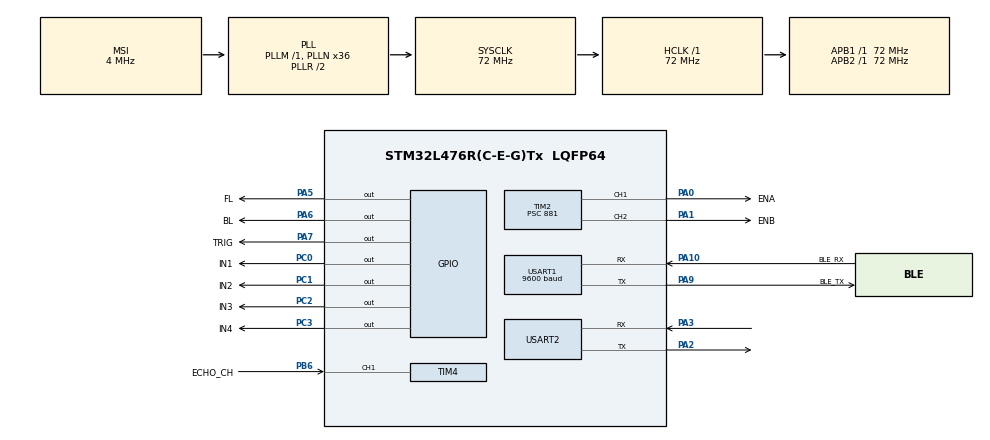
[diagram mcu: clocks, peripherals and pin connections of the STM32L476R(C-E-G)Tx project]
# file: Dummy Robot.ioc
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Mcu.Family=STM32L4
Mcu.Name=STM32L476R(C-E-G)Tx
Mcu.Package=LQFP64
NVIC.PriorityGroup=NVIC_PRIORITYGROUP_4
NVIC.TIM4_IRQn=true\:0\:0\:false\:false\:true\:true\:true\:true
NVIC.USART1_IRQn=true\:0\:0\:false\:false\:true\:true\:true\:true
PA0.GPIO_Label=ENA
PA0.Signal=S_TIM2_CH1
PA1.GPIO_Label=ENB
PA1.Signal=S_TIM2_CH2
PA10.GPIO_Label=BLE_RX
PA10.Mode=Asynchronous
PA10.Signal=USART1_RX
PA2.Mode=Asynchronous
PA2.Signal=USART2_TX
PA3.Mode=Asynchronous
PA3.Signal=USART2_RX
PA5.GPIO_Label=FL
PA5.Signal=GPIO_Output
PA6.GPIO_Label=BL
PA6.Signal=GPIO_Output
PA7.GPIO_Label=TRIG
PA7.Signal=GPIO_Output
PA9.GPIO_Label=BLE_TX
PA9.Mode=Asynchronous
PA9.Signal=USART1_TX
PB6.GPIO_Label=ECHO_CH
PB6.Signal=S_TIM4_CH1
PC0.GPIO_Label=IN1
PC0.Signal=GPIO_Output
PC1.GPIO_Label=IN2
PC1.Signal=GPIO_Output
PC2.GPIO_Label=IN3
PC2.Signal=GPIO_Output
PC3.GPIO_Label=IN4
PC3.Signal=GPIO_Output
ProjectManager.HeapSize=0x200
ProjectManager.StackSize=0x400
ProjectManager.TargetToolchain=STM32CubeIDE
RCC.AHBFreq_Value=72000000
RCC.APB1Freq_Value=72000000
RCC.APB1TimFreq_Value=72000000
RCC.APB2Freq_Value=72000000
RCC.APB2TimFreq_Value=72000000
RCC.CortexFreq_Value=72000000
RCC.HCLKFreq_Value=72000000
RCC.HSE_VALUE=8000000
RCC.HSI_VALUE=16000000
RCC.LSE_VALUE=32768
RCC.MSI_VALUE=4000000
RCC.PLLN=36
RCC.SYSCLKFreq_VALUE=72000000
RCC.SYSCLKSource=RCC_SYSCLKSOURCE_PLLCLK
RCC.VCOOutputFreq_Value=144000000
SH.S_TIM2_CH1.0=TIM2_CH1,PWM Generation1 CH1
SH.S_TIM2_CH2.0=TIM2_CH2,PWM Generation2 CH2
SH.S_TIM4_CH1.0=TIM4_CH1,Input_Capture1_from_TI1
TIM2.Channel-PWM\ Generation1\ CH1=TIM_CHANNEL_1
TIM2.Channel-PWM\ Generation2\ CH2=TIM_CHANNEL_2
TIM2.Period=256-1
TIM2.Prescaler=881
TIM2.Pulse-PWM\ Generation2\ CH2=254
TIM4.Channel-Input_Capture1_from_TI1=TIM_CHANNEL_1
TIM4.Prescaler=72-1
TIM6.Prescaler=72-1
USART1.BaudRate=9600
USART1.VirtualMode-Asynchronous=VM_ASYNC
USART2.VirtualMode-Asynchronous=VM_ASYNC
VP_TIM6_VS_ClockSourceINT.Mode=Enable_Timer
board=custom

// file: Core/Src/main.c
/* USER CODE BEGIN Header */
/**
  ******************************************************************************
  * @file           : main.c
  * @brief          : Main program body
  ******************************************************************************
  * @attention
  *
  * Copyright (c) 2024 STMicroelectronics.
  * All rights reserved.
  *
  * This software is licensed under terms that can be found in the LICENSE file
  * in the root directory of this software component.
  * If no LICENSE file comes with this software, it is provided AS-IS.
  *
  ******************************************************************************
  */
/* USER CODE END Header */
#include "main.h"

/* USER CODE BEGIN Includes */
#include <stdio.h>

/* USER CODE END Includes */

/* USER CODE BEGIN PD */

#define RX_Buffer_len 2
#define Max_Speed 255
#define Meduim_Speed 190
#define Min_Speed 80

/* USER CODE END PD */

TIM_HandleTypeDef htim2;
TIM_HandleTypeDef htim4;
TIM_HandleTypeDef htim6;

UART_HandleTypeDef huart1;
UART_HandleTypeDef huart2;

void SystemClock_Config(void);
static void MX_GPIO_Init(void);
static void MX_TIM2_Init(void);
static void MX_TIM4_Init(void);
static void MX_USART1_UART_Init(void);
static void MX_USART2_UART_Init(void);
static void MX_TIM6_Init(void);
/* USER CODE BEGIN PFP */

void HAL_TIM_IC_CaptureCallback(TIM_HandleTypeDef *htim);
void HAL_UART_RxCpltCallback(UART_HandleTypeDef *huart);
void delay_us(uint16_t);
void HCSR04_Read(void);

void Front_Light_Toggle();
void Back_Light_Toggle();

//Motor Control
void Turn_Left();
void Turn_Right();
void Forward();
void Backward();
void Stop();

/* USER CODE END PFP */

/* USER CODE BEGIN 0 */

uint8_t RX_Buffer[2] = {0};
char MSG[25] = {0};
uint32_t IC_Val1 = 0;
uint32_t IC_Val2 = 0;
uint32_t Difference = 0;
uint8_t Is_First_Captured = 0;  // is the first value captured ?
float Distance  = 0.0;

/* USER CODE END 0 */

int main(void)
{

  /* MCU Configuration--------------------------------------------------------*/

  /* Reset of all peripherals, Initializes the Flash interface and the Systick. */
  HAL_Init();

  /* Configure the system clock */
  SystemClock_Config();

  /* Initialize all configured peripherals */
  MX_GPIO_Init();
  MX_TIM2_Init();
  MX_TIM4_Init();
  MX_USART1_UART_Init();
  MX_USART2_UART_Init();
  MX_TIM6_Init();
  /* USER CODE BEGIN 2 */

  //start Timer6
  HAL_TIM_Base_Start(&htim6);

  //Start Timer 4
  HAL_TIM_IC_Start_IT(&htim2, TIM_CHANNEL_1);

  //Start Timer 2
  HAL_TIM_PWM_Start(&htim2,TIM_CHANNEL_1);
  HAL_TIM_PWM_Start(&htim2,TIM_CHANNEL_2);

  HAL_UART_Receive_IT(&huart1, RX_Buffer, RX_Buffer_len);

  /* USER CODE END 2 */

  /* Infinite loop */
  while (1)
  {

    /* USER CODE BEGIN 3 */

  HCSR04_Read();

  sprintf(MSG, "%f cm\r\n", Distance);

  HAL_UART_Transmit(&huart2, MSG, sizeof(MSG), 100);

  HAL_Delay(100);

  }
  /* USER CODE END 3 */
}

void SystemClock_Config(void)
{
  RCC_OscInitTypeDef RCC_OscInitStruct = {0};
  RCC_ClkInitTypeDef RCC_ClkInitStruct = {0};

  /** Configure the main internal regulator output voltage
  */
  if (HAL_PWREx_ControlVoltageScaling(PWR_REGULATOR_VOLTAGE_SCALE1) != HAL_OK)
  {
    Error_Handler();
  }

  /** Initializes the RCC Oscillators according to the specified parameters
  * in the RCC_OscInitTypeDef structure.
  */
  RCC_OscInitStruct.OscillatorType = RCC_OSCILLATORTYPE_MSI;
  RCC_OscInitStruct.MSIState = RCC_MSI_ON;
  RCC_OscInitStruct.MSICalibrationValue = 0;
  RCC_OscInitStruct.MSIClockRange = RCC_MSIRANGE_6;
  RCC_OscInitStruct.PLL.PLLState = RCC_PLL_ON;
  RCC_OscInitStruct.PLL.PLLSource = RCC_PLLSOURCE_MSI;
  RCC_OscInitStruct.PLL.PLLM = 1;
  RCC_OscInitStruct.PLL.PLLN = 36;
  RCC_OscInitStruct.PLL.PLLP = RCC_PLLP_DIV7;
  RCC_OscInitStruct.PLL.PLLQ = RCC_PLLQ_DIV2;
  RCC_OscInitStruct.PLL.PLLR = RCC_PLLR_DIV2;
  if (HAL_RCC_OscConfig(&RCC_OscInitStruct) != HAL_OK)
  {
    Error_Handler();
  }

  /** Initializes the CPU, AHB and APB buses clocks
  */
  RCC_ClkInitStruct.ClockType = RCC_CLOCKTYPE_HCLK|RCC_CLOCKTYPE_SYSCLK
                              |RCC_CLOCKTYPE_PCLK1|RCC_CLOCKTYPE_PCLK2;
  RCC_ClkInitStruct.SYSCLKSource = RCC_SYSCLKSOURCE_PLLCLK;
  RCC_ClkInitStruct.AHBCLKDivider = RCC_SYSCLK_DIV1;
  RCC_ClkInitStruct.APB1CLKDivider = RCC_HCLK_DIV1;
  RCC_ClkInitStruct.APB2CLKDivider = RCC_HCLK_DIV1;

  if (HAL_RCC_ClockConfig(&RCC_ClkInitStruct, FLASH_LATENCY_4) != HAL_OK)
  {
    Error_Handler();
  }
}

static void MX_TIM2_Init(void)
{

  TIM_MasterConfigTypeDef sMasterConfig = {0};
  TIM_OC_InitTypeDef sConfigOC = {0};

  htim2.Instance = TIM2;
  htim2.Init.Prescaler = 881;
  htim2.Init.CounterMode = TIM_COUNTERMODE_UP;
  htim2.Init.Period = 256-1;
  htim2.Init.ClockDivision = TIM_CLOCKDIVISION_DIV1;
  htim2.Init.AutoReloadPreload = TIM_AUTORELOAD_PRELOAD_DISABLE;
  if (HAL_TIM_PWM_Init(&htim2) != HAL_OK)
  {
    Error_Handler();
  }
  sMasterConfig.MasterOutputTrigger = TIM_TRGO_RESET;
  sMasterConfig.MasterSlaveMode = TIM_MASTERSLAVEMODE_DISABLE;
  if (HAL_TIMEx_MasterConfigSynchronization(&htim2, &sMasterConfig) != HAL_OK)
  {
    Error_Handler();
  }
  sConfigOC.OCMode = TIM_OCMODE_PWM1;
  sConfigOC.Pulse = 0;
  sConfigOC.OCPolarity = TIM_OCPOLARITY_HIGH;
  sConfigOC.OCFastMode = TIM_OCFAST_DISABLE;
  if (HAL_TIM_PWM_ConfigChannel(&htim2, &sConfigOC, TIM_CHANNEL_1) != HAL_OK)
  {
    Error_Handler();
  }
  sConfigOC.Pulse = 254;
  if (HAL_TIM_PWM_ConfigChannel(&htim2, &sConfigOC, TIM_CHANNEL_2) != HAL_OK)
  {
    Error_Handler();
  }
  HAL_TIM_MspPostInit(&htim2);

}

static void MX_TIM4_Init(void)
{

  TIM_MasterConfigTypeDef sMasterConfig = {0};
  TIM_IC_InitTypeDef sConfigIC = {0};

  htim4.Instance = TIM4;
  htim4.Init.Prescaler = 72-1;
  htim4.Init.CounterMode = TIM_COUNTERMODE_UP;
  htim4.Init.Period = 65535;
  htim4.Init.ClockDivision = TIM_CLOCKDIVISION_DIV1;
  htim4.Init.AutoReloadPreload = TIM_AUTORELOAD_PRELOAD_DISABLE;
  if (HAL_TIM_IC_Init(&htim4) != HAL_OK)
  {
    Error_Handler();
  }
  sMasterConfig.MasterOutputTrigger = TIM_TRGO_RESET;
  sMasterConfig.MasterSlaveMode = TIM_MASTERSLAVEMODE_DISABLE;
  if (HAL_TIMEx_MasterConfigSynchronization(&htim4, &sMasterConfig) != HAL_OK)
  {
    Error_Handler();
  }
  sConfigIC.ICPolarity = TIM_INPUTCHANNELPOLARITY_RISING;
  sConfigIC.ICSelection = TIM_ICSELECTION_DIRECTTI;
  sConfigIC.ICPrescaler = TIM_ICPSC_DIV1;
  sConfigIC.ICFilter = 0;
  if (HAL_TIM_IC_ConfigChannel(&htim4, &sConfigIC, TIM_CHANNEL_1) != HAL_OK)
  {
    Error_Handler();
  }

}

static void MX_TIM6_Init(void)
{

  TIM_MasterConfigTypeDef sMasterConfig = {0};

  htim6.Instance = TIM6;
  htim6.Init.Prescaler = 72-1;
  htim6.Init.CounterMode = TIM_COUNTERMODE_UP;
  htim6.Init.Period = 65535;
  htim6.Init.AutoReloadPreload = TIM_AUTORELOAD_PRELOAD_DISABLE;
  if (HAL_TIM_Base_Init(&htim6) != HAL_OK)
  {
    Error_Handler();
  }
  sMasterConfig.MasterOutputTrigger = TIM_TRGO_RESET;
  sMasterConfig.MasterSlaveMode = TIM_MASTERSLAVEMODE_DISABLE;
  if (HAL_TIMEx_MasterConfigSynchronization(&htim6, &sMasterConfig) != HAL_OK)
  {
    Error_Handler();
  }

}

static void MX_USART1_UART_Init(void)
{

  huart1.Instance = USART1;
  huart1.Init.BaudRate = 9600;
  huart1.Init.WordLength = UART_WORDLENGTH_8B;
  huart1.Init.StopBits = UART_STOPBITS_1;
  huart1.Init.Parity = UART_PARITY_NONE;
  huart1.Init.Mode = UART_MODE_TX_RX;
  huart1.Init.HwFlowCtl = UART_HWCONTROL_NONE;
  huart1.Init.OverSampling = UART_OVERSAMPLING_16;
  huart1.Init.OneBitSampling = UART_ONE_BIT_SAMPLE_DISABLE;
  huart1.AdvancedInit.AdvFeatureInit = UART_ADVFEATURE_NO_INIT;
  if (HAL_UART_Init(&huart1) != HAL_OK)
  {
    Error_Handler();
  }

}

static void MX_USART2_UART_Init(void)
{

  huart2.Instance = USART2;
  huart2.Init.BaudRate = 115200;
  huart2.Init.WordLength = UART_WORDLENGTH_8B;
  huart2.Init.StopBits = UART_STOPBITS_1;
  huart2.Init.Parity = UART_PARITY_NONE;
  huart2.Init.Mode = UART_MODE_TX_RX;
  huart2.Init.HwFlowCtl = UART_HWCONTROL_NONE;
  huart2.Init.OverSampling = UART_OVERSAMPLING_16;
  huart2.Init.OneBitSampling = UART_ONE_BIT_SAMPLE_DISABLE;
  huart2.AdvancedInit.AdvFeatureInit = UART_ADVFEATURE_NO_INIT;
  if (HAL_UART_Init(&huart2) != HAL_OK)
  {
    Error_Handler();
  }

}

static void MX_GPIO_Init(void)
{
  GPIO_InitTypeDef GPIO_InitStruct = {0};

  /* GPIO Ports Clock Enable */
  __HAL_RCC_GPIOC_CLK_ENABLE();
  __HAL_RCC_GPIOA_CLK_ENABLE();
  __HAL_RCC_GPIOB_CLK_ENABLE();

  /*Configure GPIO pin Output Level */
  HAL_GPIO_WritePin(GPIOC, IN1_Pin|IN2_Pin|IN3_Pin|IN4_Pin, GPIO_PIN_RESET);

  /*Configure GPIO pin Output Level */
  HAL_GPIO_WritePin(GPIOA, FL_Pin|BL_Pin|TRIG_Pin, GPIO_PIN_RESET);

  /*Configure GPIO pins : IN1_Pin IN2_Pin IN3_Pin IN4_Pin */
  GPIO_InitStruct.Pin = IN1_Pin|IN2_Pin|IN3_Pin|IN4_Pin;
  GPIO_InitStruct.Mode = GPIO_MODE_OUTPUT_PP;
  GPIO_InitStruct.Pull = GPIO_NOPULL;
  GPIO_InitStruct.Speed = GPIO_SPEED_FREQ_LOW;
  HAL_GPIO_Init(GPIOC, &GPIO_InitStruct);

  /*Configure GPIO pins : FL_Pin BL_Pin TRIG_Pin */
  GPIO_InitStruct.Pin = FL_Pin|BL_Pin|TRIG_Pin;
  GPIO_InitStruct.Mode = GPIO_MODE_OUTPUT_PP;
  GPIO_InitStruct.Pull = GPIO_NOPULL;
  GPIO_InitStruct.Speed = GPIO_SPEED_FREQ_LOW;
  HAL_GPIO_Init(GPIOA, &GPIO_InitStruct);

}

/* USER CODE BEGIN 4 */
void HAL_TIM_IC_CaptureCallback(TIM_HandleTypeDef *htim)
{
	if (htim->Channel == HAL_TIM_ACTIVE_CHANNEL_1)  // if the interrupt source is channel1
	{
		if (Is_First_Captured==0) // if the first value is not captured
		{
			IC_Val1 = HAL_TIM_ReadCapturedValue(htim, TIM_CHANNEL_1); // read the first value
			Is_First_Captured = 1;  // set the first captured as true
			// Now change the polarity to falling edge
			__HAL_TIM_SET_CAPTUREPOLARITY(htim, TIM_CHANNEL_1, TIM_INPUTCHANNELPOLARITY_FALLING);
		}

		else if (Is_First_Captured==1)   // if the first is already captured
		{
			IC_Val2 = HAL_TIM_ReadCapturedValue(htim, TIM_CHANNEL_1);  // read second value
			__HAL_TIM_SET_COUNTER(htim, 0);  // reset the counter

			if (IC_Val2 > IC_Val1)
			{
				Difference = IC_Val2-IC_Val1;
			}

			else if (IC_Val1 > IC_Val2)
			{
				Difference = (0xffff - IC_Val1) + IC_Val2;
			}

			Distance = Difference * .034/2;
			Is_First_Captured = 0; // set it back to false

			// set polarity to rising edge
			__HAL_TIM_SET_CAPTUREPOLARITY(htim, TIM_CHANNEL_1, TIM_INPUTCHANNELPOLARITY_RISING);
			__HAL_TIM_DISABLE_IT(&htim4, TIM_IT_CC1);
		}
	}
}

void Turn_Left(){
	//Right motor direction to forward
	HAL_GPIO_WritePin(GPIOC, IN1_Pin, GPIO_PIN_SET);
	HAL_GPIO_WritePin(GPIOC, IN2_Pin, GPIO_PIN_RESET);

	//Left motor direction to forward
	HAL_GPIO_WritePin(GPIOC, IN3_Pin, GPIO_PIN_SET);
	HAL_GPIO_WritePin(GPIOC, IN4_Pin, GPIO_PIN_RESET);

	//Set Turning speed
	TIM2->CCR1= Min_Speed;
	TIM2->CCR2= Meduim_Speed;

}

void Turn_Right(){

	//Right motor direction to forward
	HAL_GPIO_WritePin(GPIOC, IN1_Pin, GPIO_PIN_SET);
	HAL_GPIO_WritePin(GPIOC, IN2_Pin, GPIO_PIN_RESET);

	//Left motor direction to forward
	HAL_GPIO_WritePin(GPIOC, IN3_Pin, GPIO_PIN_SET);
	HAL_GPIO_WritePin(GPIOC, IN4_Pin, GPIO_PIN_RESET);

	//Set Turning speed
	TIM2->CCR1= Meduim_Speed;
	TIM2->CCR2= Min_Speed;

}

void Forward(){

	//Right motor direction to forward
	HAL_GPIO_WritePin(GPIOC, IN1_Pin, GPIO_PIN_SET);
	HAL_GPIO_WritePin(GPIOC, IN2_Pin, GPIO_PIN_RESET);

	//Left motor direction to forward
	HAL_GPIO_WritePin(GPIOC, IN3_Pin, GPIO_PIN_SET);
	HAL_GPIO_WritePin(GPIOC, IN4_Pin, GPIO_PIN_RESET);

	//Set Turning speed
	TIM2->CCR1= Max_Speed;
	TIM2->CCR2= Max_Speed;
}

void Backward(){

	//Right motor direction to backward
	HAL_GPIO_WritePin(GPIOC, IN1_Pin, GPIO_PIN_RESET);
	HAL_GPIO_WritePin(GPIOC, IN2_Pin, GPIO_PIN_SET);

	//Left motor direction to backward
	HAL_GPIO_WritePin(GPIOC, IN3_Pin, GPIO_PIN_RESET);
	HAL_GPIO_WritePin(GPIOC, IN4_Pin, GPIO_PIN_SET);

	//Set medium speed
	TIM2->CCR1= Meduim_Speed;
	TIM2->CCR2= Meduim_Speed;

}

void HAL_UART_RxCpltCallback(UART_HandleTypeDef *huart) {
    // Check the Cplt callback function call belongs to the UART1 instance.
    if (huart == &huart1) {
        switch (RX_Buffer[0]) {
            case 'M':
                HAL_GPIO_TogglePin(FL_GPIO_Port, FL_Pin);
                break;

            case 'N':
                HAL_GPIO_TogglePin(BL_GPIO_Port, BL_Pin);
                break;

            case 'U':
                // HAL_GPIO_WritePin(FL_GPIO_Port, FL_Pin, 1);
                Forward();
                break;

            case 'D':
                // HAL_GPIO_WritePin(FL_GPIO_Port, FL_Pin, 1);
                Backward();
                break;

            case 'L':
                // HAL_GPIO_WritePin(FL_GPIO_Port, FL_Pin, 1);
                Turn_Left();
                break;

            case 'R':
                // HAL_GPIO_WritePin(FL_GPIO_Port, FL_Pin, 1);
                Turn_Right();
                break;

            default:
                TIM2->CCR1 = 0;
                TIM2->CCR2 = 0;
                sprintf(MSG, "No command \r\n");
                HAL_UART_Transmit(&huart2, MSG, sizeof(MSG), 100);
                break;
        }

        HAL_UART_Receive_IT(&huart1, RX_Buffer, RX_Buffer_len);
    }
}

void HCSR04_Read(void)
{
	HAL_GPIO_WritePin(TRIG_GPIO_Port, TRIG_Pin, GPIO_PIN_SET);  // pull the TRIG pin HIGH
	delay_us(3);  // wait for 10 us (minimum trig pulse is 2us)
	HAL_GPIO_WritePin(TRIG_GPIO_Port, TRIG_Pin, GPIO_PIN_RESET);  // pull the TRIG pin low

	__HAL_TIM_ENABLE_IT(&htim4, TIM_IT_CC1);
}

void delay_us(uint16_t delay){
	__HAL_TIM_SET_COUNTER(&htim6,0); // or set the CNT directly : TIM6->CNT = 0;
	while (__HAL_TIM_GET_COUNTER(&htim6) < delay); // or : while (TIM6->CNT < delay);
}

/* USER CODE END 4 */

void Error_Handler(void)
{
  __disable_irq();
  while (1)
  {
  }
}
